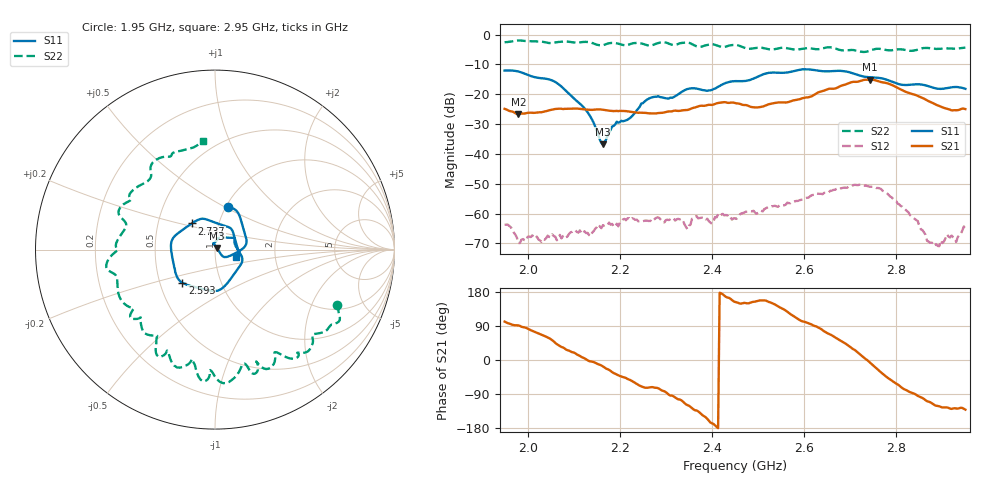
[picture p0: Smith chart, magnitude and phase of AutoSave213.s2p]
!Agilent N9923A: A.07.32
!Date: Thursday, 02 June 2016 02:19:10
!Model: N9923A
!Serial: MY52412257
!GPS Latitude:
!GPS Longitude:
!GPS TimeStamp: 0001-01-01 00:00:00Z
!GPS Seconds Since Last Read: 0
!CHECKSUM:1854060507
!Correction: S11(ON U)S21(ON U)S12(ON U)S22(ON U)
!S2P File: Measurements:S11,S21,S12,S22:
# Hz S DB R 50
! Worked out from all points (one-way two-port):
!   301 points, 1.95 GHz to 2.95 GHz, reference 50 ohm
!   highest |S21| = -15.13 dB at 2.743 GHz (marker M1); lowest = -26.6 dB at 1.98 GHz (marker M2)
!   lowest |S11| = -36.8 dB at 2.163 GHz (marker M3), VSWR 1.03, Z = 51.2 + j0.871 ohm
!   |S11| at or under -10 dB: start of sweep to end of sweep
!   |S22| runs from -5.8 to -2.0 dB; largest |S21 - S12| = 0.17
!   S11 on the Smith chart (normalised r, x): 1.95 GHz: 1.03, +0.52; 2.593 GHz: 0.65, -0.26; 2.737 GHz: 0.74, +0.22; 2.95 GHz: 1.26, -0.10
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1.95e9  -12.07 72.7  -24.89 101.4  -63.74 113.9  -2.56 -24.5
1.98e9  -12.38 57.3  -26.64 91.1  -69.89 87.0  -1.96 -29.4
2.06e9  -15.89 3.7  -24.93 45.1  -67.78 75.6  -2.62 -42.5
2.12e9  -24.15 -40.2  -25.03 6.2  -66.70 50.8  -2.47 -51.7
2.163333e9  -36.79 36.0  -25.19 -16.8  -63.92 10.9  -3.54 -60.1
2.193333e9  -29.18 102.2  -25.59 -38.6  -63.41 0.6  -2.91 -67.7
2.286667e9  -20.91 68.3  -26.27 -76.8  -61.65 -46.9  -2.70 -82.7
2.333333e9  -19.30 37.5  -25.46 -106.1  -61.78 -79.7  -2.82 -93.2
2.346667e9  -18.25 32.8  -25.28 -119.0  -65.25 -90.2  -2.65 -95.3
2.366667e9  -18.11 28.3  -24.25 -133.3  -60.85 -98.6  -3.91 -100.9
2.4e9  -18.53 7.5  -23.58 -167.1  -63.44 -123.2  -3.23 -107.8
2.413333e9  -17.47 -4.2  -22.92 -180.0  -60.24 -130.2  -3.81 -113.2
2.453333e9  -15.59 -28.3  -23.06 152.4  -61.79 -154.0  -3.47 -118.9
2.593333e9  -11.74 -134.7  -21.51 103.3  -55.42 104.3  -4.81 -146.3
2.62e9  -11.85 -148.7  -20.35 91.1  -53.74 91.6  -4.76 -160.0
2.736667e9  -14.23 131.5  -15.14 -0.0  -50.77 -25.0  -5.68 163.2
2.743333e9  -14.29 126.3  -15.13 -7.2  -51.01 -28.9  -5.37 162.0
2.783333e9  -15.35 103.8  -16.47 -48.7  -53.75 -82.3  -5.27 149.7
2.883333e9  -17.95 29.6  -23.27 -119.1  -70.82 -175.8  -4.77 116.2
2.91e9  -17.95 3.2  -24.83 -125.2  -67.01 -112.5  -4.61 112.3
2.93e9  -17.57 -8.7  -25.37 -127.9  -69.54 -95.0  -4.72 103.1
2.95e9  -18.18 -18.2  -24.97 -131.0  -65.18 -116.5  -4.33 96.3
